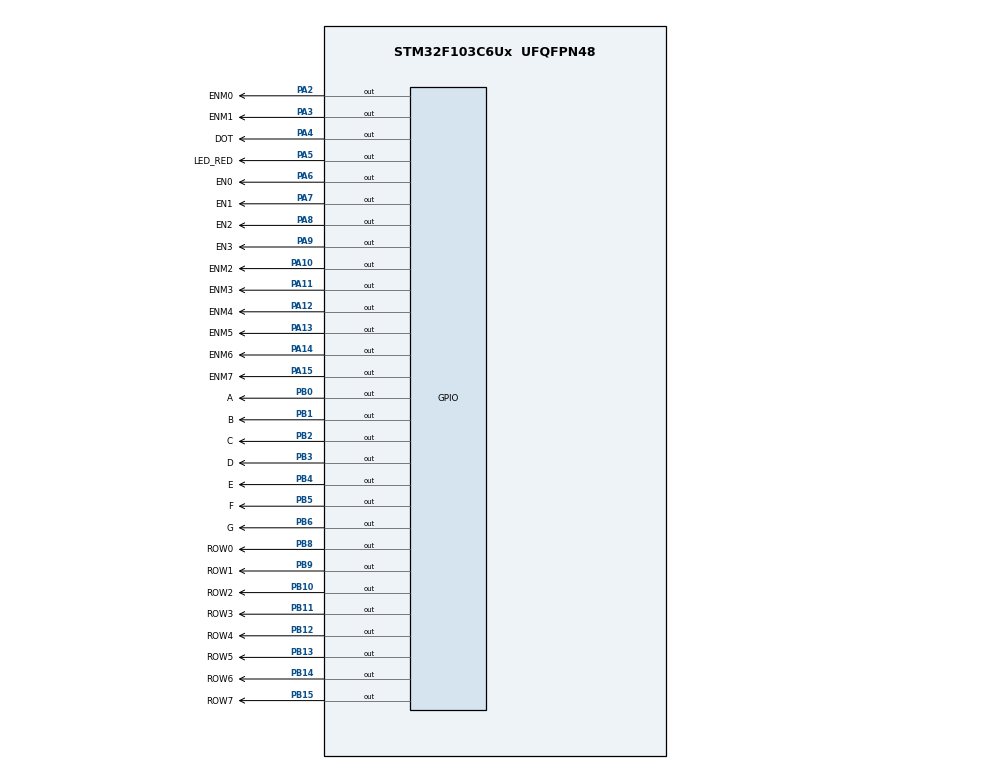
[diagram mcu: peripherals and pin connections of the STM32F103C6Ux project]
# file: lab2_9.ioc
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Mcu.Family=STM32F1
Mcu.Name=STM32F103C6Ux
Mcu.Package=UFQFPN48
NVIC.PriorityGroup=NVIC_PRIORITYGROUP_4
NVIC.TIM2_IRQn=true\:0\:0\:false\:false\:true\:true\:true
PA10.GPIO_Label=ENM2
PA10.Signal=GPIO_Output
PA11.GPIO_Label=ENM3
PA11.Signal=GPIO_Output
PA12.GPIO_Label=ENM4
PA12.Signal=GPIO_Output
PA13.GPIO_Label=ENM5
PA13.Signal=GPIO_Output
PA14.GPIO_Label=ENM6
PA14.Signal=GPIO_Output
PA15.GPIO_Label=ENM7
PA15.Signal=GPIO_Output
PA2.GPIO_Label=ENM0
PA2.Signal=GPIO_Output
PA3.GPIO_Label=ENM1
PA3.Signal=GPIO_Output
PA4.GPIO_Label=DOT
PA4.Signal=GPIO_Output
PA5.GPIO_Label=LED_RED
PA5.Signal=GPIO_Output
PA6.GPIO_Label=EN0
PA6.Signal=GPIO_Output
PA7.GPIO_Label=EN1
PA7.Signal=GPIO_Output
PA8.GPIO_Label=EN2
PA8.Signal=GPIO_Output
PA9.GPIO_Label=EN3
PA9.Signal=GPIO_Output
PB0.GPIO_Label=A
PB0.Signal=GPIO_Output
PB1.GPIO_Label=B
PB1.Signal=GPIO_Output
PB10.GPIO_Label=ROW2
PB10.Signal=GPIO_Output
PB11.GPIO_Label=ROW3
PB11.Signal=GPIO_Output
PB12.GPIO_Label=ROW4
PB12.Signal=GPIO_Output
PB13.GPIO_Label=ROW5
PB13.Signal=GPIO_Output
PB14.GPIO_Label=ROW6
PB14.Signal=GPIO_Output
PB15.GPIO_Label=ROW7
PB15.Signal=GPIO_Output
PB2.GPIO_Label=C
PB2.Signal=GPIO_Output
PB3.GPIO_Label=D
PB3.Signal=GPIO_Output
PB4.GPIO_Label=E
PB4.Signal=GPIO_Output
PB5.GPIO_Label=F
PB5.Signal=GPIO_Output
PB6.GPIO_Label=G
PB6.Signal=GPIO_Output
PB8.GPIO_Label=ROW0
PB8.Signal=GPIO_Output
PB9.GPIO_Label=ROW1
PB9.Signal=GPIO_Output
ProjectManager.HeapSize=0x200
ProjectManager.StackSize=0x400
ProjectManager.TargetToolchain=STM32CubeIDE
RCC.APB1Freq_Value=8000000
RCC.APB2Freq_Value=8000000
TIM2.Period=9
TIM2.Prescaler=7999
VP_SYS_VS_ND.Mode=No_Debug
VP_TIM2_VS_ClockSourceINT.Mode=Internal
board=custom

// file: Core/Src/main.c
/* USER CODE BEGIN Header */
/**
  ******************************************************************************
  * @file           : main.c
  * @brief          : Main program body
  ******************************************************************************
  * @attention
  *
  * <h2><center>&copy; Copyright (c) 2022 STMicroelectronics.
  * All rights reserved.</center></h2>
  *
  * This software component is licensed by ST under BSD 3-Clause license,
  * the "License"; You may not use this file except in compliance with the
  * License. You may obtain a copy of the License at:
  *                        opensource.org/licenses/BSD-3-Clause
  *
  ******************************************************************************
  */
/* USER CODE END Header */
#include "main.h"

/* USER CODE BEGIN Includes */
#include "software.h"
#include "display.h"
#include "ledmatrix.h"
/* USER CODE END Includes */

TIM_HandleTypeDef htim2;

void SystemClock_Config(void);
static void MX_GPIO_Init(void);
static void MX_TIM2_Init(void);

int main(void)
{

  /* MCU Configuration--------------------------------------------------------*/

  /* Reset of all peripherals, Initializes the Flash interface and the Systick. */
  HAL_Init();

  /* Configure the system clock */
  SystemClock_Config();

  /* Initialize all configured peripherals */
  MX_GPIO_Init();
  MX_TIM2_Init();
  /* USER CODE BEGIN 2 */
  HAL_TIM_Base_Start_IT (& htim2 ) ;
  /* USER CODE END 2 */

  /* Infinite loop */
  /* USER CODE BEGIN WHILE */
  int index =0;
  HAL_GPIO_WritePin(ENM0_GPIO_Port, ENM0_Pin, SET);
  HAL_GPIO_WritePin(ENM1_GPIO_Port, ENM1_Pin, SET);
  HAL_GPIO_WritePin(ENM2_GPIO_Port, ENM2_Pin, SET);
  HAL_GPIO_WritePin(ENM3_GPIO_Port, ENM3_Pin, SET);
  HAL_GPIO_WritePin(ENM4_GPIO_Port, ENM4_Pin, SET);
  HAL_GPIO_WritePin(ENM5_GPIO_Port, ENM5_Pin, SET);
  HAL_GPIO_WritePin(ENM6_GPIO_Port, ENM6_Pin, SET);
  HAL_GPIO_WritePin(ENM7_GPIO_Port, ENM7_Pin, SET);
  while (1)
  {
	  if(index > 7){
		  index = 0;
	  }
	  updateLEDMatrix(index++);
	  delay(1);
  }
    /* USER CODE END WHILE */

}

void SystemClock_Config(void)
{
  RCC_OscInitTypeDef RCC_OscInitStruct = {0};
  RCC_ClkInitTypeDef RCC_ClkInitStruct = {0};

  /** Initializes the RCC Oscillators according to the specified parameters
  * in the RCC_OscInitTypeDef structure.
  */
  RCC_OscInitStruct.OscillatorType = RCC_OSCILLATORTYPE_HSI;
  RCC_OscInitStruct.HSIState = RCC_HSI_ON;
  RCC_OscInitStruct.HSICalibrationValue = RCC_HSICALIBRATION_DEFAULT;
  RCC_OscInitStruct.PLL.PLLState = RCC_PLL_NONE;
  if (HAL_RCC_OscConfig(&RCC_OscInitStruct) != HAL_OK)
  {
    Error_Handler();
  }
  /** Initializes the CPU, AHB and APB buses clocks
  */
  RCC_ClkInitStruct.ClockType = RCC_CLOCKTYPE_HCLK|RCC_CLOCKTYPE_SYSCLK
                              |RCC_CLOCKTYPE_PCLK1|RCC_CLOCKTYPE_PCLK2;
  RCC_ClkInitStruct.SYSCLKSource = RCC_SYSCLKSOURCE_HSI;
  RCC_ClkInitStruct.AHBCLKDivider = RCC_SYSCLK_DIV1;
  RCC_ClkInitStruct.APB1CLKDivider = RCC_HCLK_DIV1;
  RCC_ClkInitStruct.APB2CLKDivider = RCC_HCLK_DIV1;

  if (HAL_RCC_ClockConfig(&RCC_ClkInitStruct, FLASH_LATENCY_0) != HAL_OK)
  {
    Error_Handler();
  }
}

static void MX_TIM2_Init(void)
{

  TIM_ClockConfigTypeDef sClockSourceConfig = {0};
  TIM_MasterConfigTypeDef sMasterConfig = {0};

  htim2.Instance = TIM2;
  htim2.Init.Prescaler = 7999;
  htim2.Init.CounterMode = TIM_COUNTERMODE_UP;
  htim2.Init.Period = 9;
  htim2.Init.ClockDivision = TIM_CLOCKDIVISION_DIV1;
  htim2.Init.AutoReloadPreload = TIM_AUTORELOAD_PRELOAD_DISABLE;
  if (HAL_TIM_Base_Init(&htim2) != HAL_OK)
  {
    Error_Handler();
  }
  sClockSourceConfig.ClockSource = TIM_CLOCKSOURCE_INTERNAL;
  if (HAL_TIM_ConfigClockSource(&htim2, &sClockSourceConfig) != HAL_OK)
  {
    Error_Handler();
  }
  sMasterConfig.MasterOutputTrigger = TIM_TRGO_RESET;
  sMasterConfig.MasterSlaveMode = TIM_MASTERSLAVEMODE_DISABLE;
  if (HAL_TIMEx_MasterConfigSynchronization(&htim2, &sMasterConfig) != HAL_OK)
  {
    Error_Handler();
  }

}

static void MX_GPIO_Init(void)
{
  GPIO_InitTypeDef GPIO_InitStruct = {0};

  /* GPIO Ports Clock Enable */
  __HAL_RCC_GPIOA_CLK_ENABLE();
  __HAL_RCC_GPIOB_CLK_ENABLE();

  /*Configure GPIO pin Output Level */
  HAL_GPIO_WritePin(GPIOA, ENM0_Pin|ENM1_Pin|DOT_Pin|LED_RED_Pin
                          |EN0_Pin|EN1_Pin|EN2_Pin|EN3_Pin
                          |ENM2_Pin|ENM3_Pin|ENM4_Pin|ENM5_Pin
                          |ENM6_Pin|ENM7_Pin, GPIO_PIN_RESET);

  /*Configure GPIO pin Output Level */
  HAL_GPIO_WritePin(GPIOB, A_Pin|B_Pin|C_Pin|ROW2_Pin
                          |ROW3_Pin|ROW4_Pin|ROW5_Pin|ROW6_Pin
                          |ROW7_Pin|D_Pin|E_Pin|F_Pin
                          |G_Pin|ROW0_Pin|ROW1_Pin, GPIO_PIN_RESET);

  /*Configure GPIO pins : ENM0_Pin ENM1_Pin DOT_Pin LED_RED_Pin
                           EN0_Pin EN1_Pin EN2_Pin EN3_Pin
                           ENM2_Pin ENM3_Pin ENM4_Pin ENM5_Pin
                           ENM6_Pin ENM7_Pin */
  GPIO_InitStruct.Pin = ENM0_Pin|ENM1_Pin|DOT_Pin|LED_RED_Pin
                          |EN0_Pin|EN1_Pin|EN2_Pin|EN3_Pin
                          |ENM2_Pin|ENM3_Pin|ENM4_Pin|ENM5_Pin
                          |ENM6_Pin|ENM7_Pin;
  GPIO_InitStruct.Mode = GPIO_MODE_OUTPUT_PP;
  GPIO_InitStruct.Pull = GPIO_NOPULL;
  GPIO_InitStruct.Speed = GPIO_SPEED_FREQ_LOW;
  HAL_GPIO_Init(GPIOA, &GPIO_InitStruct);

  /*Configure GPIO pins : A_Pin B_Pin C_Pin ROW2_Pin
                           ROW3_Pin ROW4_Pin ROW5_Pin ROW6_Pin
                           ROW7_Pin D_Pin E_Pin F_Pin
                           G_Pin ROW0_Pin ROW1_Pin */
  GPIO_InitStruct.Pin = A_Pin|B_Pin|C_Pin|ROW2_Pin
                          |ROW3_Pin|ROW4_Pin|ROW5_Pin|ROW6_Pin
                          |ROW7_Pin|D_Pin|E_Pin|F_Pin
                          |G_Pin|ROW0_Pin|ROW1_Pin;
  GPIO_InitStruct.Mode = GPIO_MODE_OUTPUT_PP;
  GPIO_InitStruct.Pull = GPIO_NOPULL;
  GPIO_InitStruct.Speed = GPIO_SPEED_FREQ_LOW;
  HAL_GPIO_Init(GPIOB, &GPIO_InitStruct);

}

/* USER CODE BEGIN 4 */
void HAL_TIM_PeriodElapsedCallback ( TIM_HandleTypeDef * htim )
{
	timerRun();

}
/* USER CODE END 4 */

void Error_Handler(void)
{
  __disable_irq();
  while (1)
  {
  }
}

/************************ (C) COPYRIGHT STMicroelectronics *****END OF FILE****/
